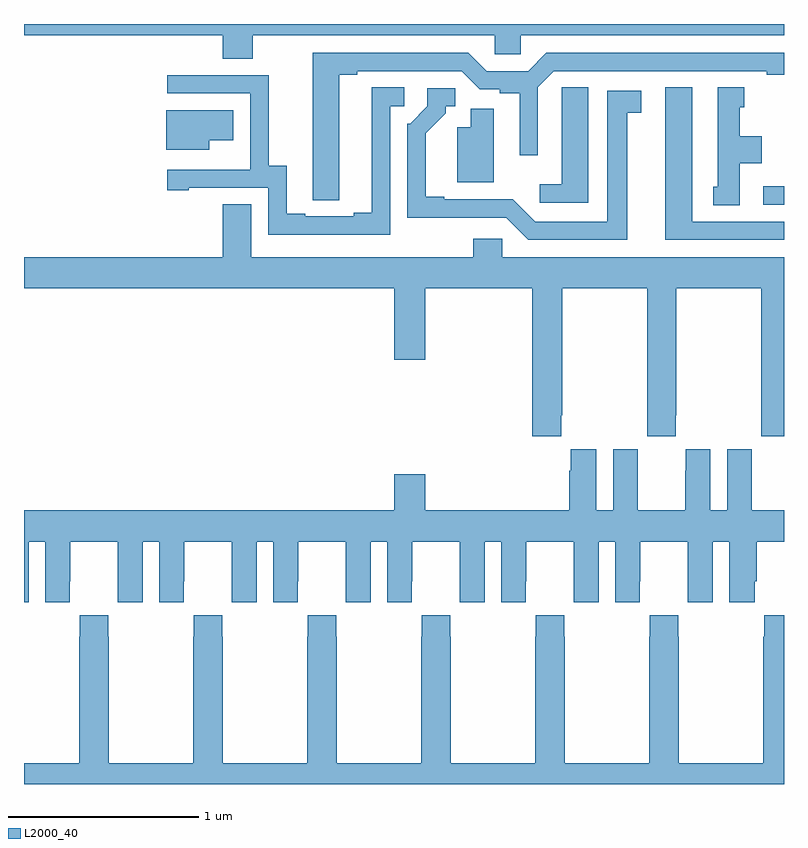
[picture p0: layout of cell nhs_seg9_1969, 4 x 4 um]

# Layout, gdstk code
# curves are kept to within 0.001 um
import gdstk
lib = gdstk.Library(unit=1e-6, precision=1e-09)
def R(c, l, rs):  # rectangles x0, y0, x1, y1
    for r in rs: c.add(gdstk.rectangle(r[:2], r[2:], *l))
def P(c, l, *ps):  # polygons
    for p in ps: c.add(gdstk.Polygon(p, *l))
L2000_40 = (2000, 40)

nhs_seg9_1969 = lib.new_cell('nhs_seg9_1969')
R(nhs_seg9_1969, L2000_40, [(226.89,1175.55,227,1175.646)])
P(nhs_seg9_1969, L2000_40, [(224.205,1176.44),(225.477,1176.44),(225.477,1176.342),(225.615,1176.342),(225.615,1176.44),(227,1176.44),(227,1176.5),(223,1176.5),(223,1176.44),(224.045,1176.44),(224.045,1176.316),(224.205,1176.316)],
  [(224.659,1176.232),(224.755,1176.232),(224.755,1176.252),(225.303,1176.252),(225.399,1176.156),(225.504,1176.156),(225.504,1176.136),(225.608,1176.136),(225.608,1175.808),(225.705,1175.808),(225.705,1176.168),(225.789,1176.252),(226.91,1176.252),(226.91,1176.232),(227,1176.232),(227,1176.348),(225.749,1176.348),(225.653,1176.252),(225.435,1176.252),(225.339,1176.348),(224.519,1176.348),(224.52,1175.572),(224.659,1175.572)],
  [(224.928,1176.066),(225.001,1176.066),(225.001,1176.167),(224.831,1176.167),(224.831,1175.507),(224.735,1175.507),(224.735,1175.487),(224.479,1175.487),(224.479,1175.502),(224.383,1175.502),(224.383,1175.753),(224.289,1175.753),(224.289,1176.231),(223.755,1176.231),(223.755,1176.135),(224.19,1176.135),(224.19,1175.734),(224.189,1175.734),(224.189,1175.733),(223.755,1175.733),(223.755,1175.625),(223.867,1175.625),(223.867,1175.637),(224.286,1175.637),(224.286,1175.391),(224.928,1175.391)],
  [(225.97,1176.167),(225.831,1176.167),(225.831,1176.059),(225.83,1176.059),(225.83,1175.656),(225.714,1175.656),(225.714,1175.559),(225.97,1175.559)],
  [(227,1175.46),(226.516,1175.46),(226.516,1176.166),(226.376,1176.166),(226.376,1175.364),(227,1175.364)],
  [(226.768,1175.768),(226.882,1175.768),(226.882,1175.908),(226.768,1175.908),(226.768,1176.063),(226.792,1176.063),(226.792,1176.166),(226.652,1176.166),(226.652,1175.643),(226.628,1175.643),(226.628,1175.545),(226.768,1175.545)],
  [(226.174,1176.034),(226.249,1176.034),(226.249,1176.15),(226.07,1176.15),(226.07,1175.46),(225.69,1175.46),(225.573,1175.577),(225.211,1175.577),(225.211,1175.59),(225.115,1175.59),(225.115,1175.926),(225.22,1176.031),(225.22,1176.066),(225.27,1176.066),(225.27,1176.162),(225.123,1176.162),(225.123,1176.066),(225.033,1175.976),(225.018,1175.976),(225.018,1175.48),(225.537,1175.481),(225.654,1175.364),(226.174,1175.364)],
  [(225.472,1176.054),(225.35,1176.054),(225.35,1175.956),(225.281,1175.956),(225.281,1175.666),(225.472,1175.666)],
  [(223.975,1175.888),(224.101,1175.888),(224.101,1176.046),(223.748,1176.046),(223.748,1175.837),(223.975,1175.837)],
  [(225.827,1174.441),(225.834,1174.441),(225.834,1175.108),(226.279,1175.108),(226.279,1174.441),(226.281,1174.441),(226.281,1174.329),(226.431,1174.329),(226.431,1174.441),(226.434,1174.441),(226.434,1175.108),(226.879,1175.108),(226.879,1174.441),(226.881,1174.441),(226.881,1174.329),(227,1174.329),(227,1175.272),(225.516,1175.272),(225.516,1175.37),(225.365,1175.37),(225.365,1175.272),(224.197,1175.272),(224.197,1175.552),(224.045,1175.552),(224.045,1175.272),(223,1175.272),(223,1175.108),(224.948,1175.108),(224.948,1174.734),(225.112,1174.734),(225.112,1175.108),(225.674,1175.108),(225.674,1174.329),(225.827,1174.329)],
  [(223,1173.456),(223.024,1173.456),(223.024,1173.776),(223.112,1173.776),(223.112,1173.456),(223.242,1173.456),(223.242,1173.568),(223.243,1173.568),(223.243,1173.776),(223.493,1173.776),(223.493,1173.568),(223.494,1173.568),(223.494,1173.456),(223.624,1173.456),(223.624,1173.776),(223.712,1173.776),(223.712,1173.456),(223.842,1173.456),(223.842,1173.568),(223.843,1173.568),(223.843,1173.776),(224.093,1173.776),(224.093,1173.568),(224.094,1173.568),(224.094,1173.456),(224.224,1173.456),(224.224,1173.776),(224.312,1173.776),(224.312,1173.456),(224.442,1173.456),(224.442,1173.568),(224.443,1173.568),(224.443,1173.776),(224.693,1173.776),(224.693,1173.568),(224.694,1173.568),(224.694,1173.456),(224.824,1173.456),(224.824,1173.776),(224.912,1173.776),(224.912,1173.456),(225.042,1173.456),(225.042,1173.568),(225.043,1173.568),(225.043,1173.776),(225.293,1173.776),(225.293,1173.568),(225.294,1173.568),(225.294,1173.456),(225.424,1173.456),(225.424,1173.776),(225.512,1173.776),(225.512,1173.456),(225.642,1173.456),(225.642,1173.568),(225.643,1173.568),(225.643,1173.776),(225.893,1173.776),(225.893,1173.568),(225.894,1173.568),(225.894,1173.456),(226.024,1173.456),(226.024,1173.776),(226.112,1173.776),(226.112,1173.456),(226.242,1173.456),(226.242,1173.568),(226.243,1173.568),(226.243,1173.776),(226.493,1173.776),(226.493,1173.568),(226.494,1173.568),(226.494,1173.456),(226.624,1173.456),(226.624,1173.776),(226.712,1173.776),(226.712,1173.456),(226.846,1173.456),(226.846,1173.568),(226.856,1173.568),(226.856,1173.776),(227,1173.776),(227,1173.94),(226.831,1173.94),(226.831,1174.148),(226.83,1174.148),(226.83,1174.261),(226.7,1174.261),(226.7,1173.94),(226.612,1173.94),(226.612,1174.261),(226.482,1174.261),(226.482,1174.148),(226.481,1174.148),(226.481,1173.94),(226.231,1173.94),(226.231,1174.148),(226.23,1174.148),(226.23,1174.261),(226.1,1174.261),(226.1,1173.94),(226.012,1173.94),(226.012,1174.261),(225.878,1174.261),(225.878,1174.148),(225.869,1174.148),(225.869,1173.94),(225.112,1173.94),(225.112,1174.129),(224.948,1174.129),(224.948,1173.94),(223,1173.94)],
  [(227,1173.388),(226.897,1173.388),(226.897,1173.275),(226.891,1173.275),(226.891,1172.608),(226.446,1172.608),(226.446,1173.275),(226.443,1173.275),(226.443,1173.388),(226.293,1173.388),(226.293,1173.275),(226.291,1173.275),(226.291,1172.608),(225.846,1172.608),(225.846,1173.275),(225.843,1173.275),(225.843,1173.388),(225.693,1173.388),(225.693,1173.275),(225.691,1173.275),(225.691,1172.608),(225.246,1172.608),(225.246,1173.275),(225.243,1173.275),(225.243,1173.388),(225.093,1173.388),(225.093,1173.275),(225.091,1173.275),(225.091,1172.608),(224.646,1172.608),(224.646,1173.275),(224.643,1173.275),(224.643,1173.388),(224.493,1173.388),(224.493,1173.275),(224.491,1173.275),(224.491,1172.608),(224.046,1172.608),(224.046,1173.275),(224.043,1173.275),(224.043,1173.388),(223.893,1173.388),(223.893,1173.275),(223.891,1173.275),(223.891,1172.608),(223.446,1172.608),(223.446,1173.275),(223.443,1173.275),(223.443,1173.388),(223.293,1173.388),(223.293,1173.275),(223.291,1173.275),(223.291,1172.608),(223,1172.608),(223,1172.5),(227,1172.5)])

lib.write_gds('nhs_seg9_1969.gds')
